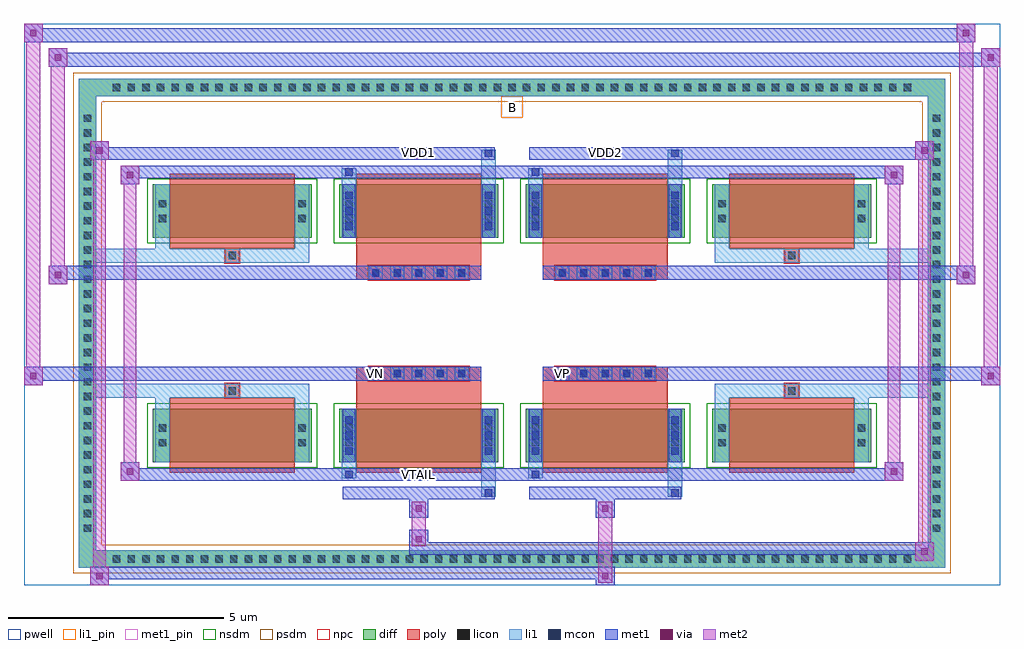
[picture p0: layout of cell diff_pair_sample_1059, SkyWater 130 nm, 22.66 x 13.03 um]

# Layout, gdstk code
import gdstk
lib = gdstk.Library(unit=1e-6, precision=5e-09)
def R(c, l, rs):  # rectangles x0, y0, x1, y1
    for r in rs: c.add(gdstk.rectangle(r[:2], r[2:], *l))
def A(c, l, x, y, w, h, nx, ny, dx, dy):  # array of equal rectangles
    R(c, l, [(x+i*dx, y+j*dy, x+i*dx+w, y+j*dy+h) for i in range(nx) for j in range(ny)])
def P(c, l, *ps):  # polygons
    for p in ps: c.add(gdstk.Polygon(p, *l))
pwell = (64, 44)
diff = (65, 20)
poly = (66, 20)
licon = (66, 44)
li1_pin = (67, 16)
li1 = (67, 20)
mcon = (67, 44)
met1_pin = (68, 16)
met1 = (68, 20)
via = (68, 44)
met2 = (69, 20)
nsdm = (93, 44)
psdm = (94, 20)
npc = (95, 20)

diff_pair_sample_1059 = lib.new_cell('diff_pair_sample_1059')
R(diff_pair_sample_1059, pwell, [(-11.33,-6.08,11.33,6.95), (-8.65,-4.27,-0.01,-0.805), (0.01,-4.27,8.65,-0.805), (-8.65,0.805,-0.01,4.27), (0.01,0.805,8.65,4.27)])
A(diff_pair_sample_1059, diff, -9.385, -5.68, 0.41, 0.41, 55, 2, 0.34, 10.95)
A(diff_pair_sample_1059, diff, -10.06, -4.965, 0.41, 0.41, 1, 29, 0, 0.34)
A(diff_pair_sample_1059, diff, 9.65, -4.965, 0.41, 0.41, 1, 29, 0, 0.34)
A(diff_pair_sample_1059, diff, -8.34, -3.225, 3.69, 1.24, 4, 2, 4.33, 5.21)
R(diff_pair_sample_1059, diff, [(-9.385,-5.68,9.385,-5.27), (-10.06,-4.965,-9.65,4.965), (9.65,-4.965,10.06,4.965), (-9.385,5.27,9.385,5.68)])
P(diff_pair_sample_1059, diff, [(10.06,5.68),(-10.06,5.68),(-10.06,-5.27),(-9.65,-5.27),(-9.65,5.27),(9.65,5.27),(9.65,-5.27),(-9.65,-5.27),(-10.06,-5.27),(-10.06,-5.68),(10.06,-5.68)])
A(diff_pair_sample_1059, poly, -7.95, -3.475, 2.91, 1.74, 4, 2, 4.33, 5.21)
A(diff_pair_sample_1059, poly, -3.33, -1.335, 0.33, 0.33, 5, 2, 0.5, 2.34)
A(diff_pair_sample_1059, poly, 1, -1.335, 0.33, 0.33, 5, 2, 0.5, 2.34)
R(diff_pair_sample_1059, poly, [(-6.66,-1.735,-6.33,-1.405), (-6.66,-1.735,-6.33,-1.405), (-3.62,-1.735,-0.71,-1.335), (0.71,-1.735,3.62,-1.335), (6.33,-1.735,6.66,-1.405), (6.33,-1.735,6.66,-1.405), (-3.62,-1.335,-0.71,-1.005), (0.71,-1.335,3.62,-1.005), (-3.62,1.005,-0.71,1.335), (0.71,1.005,3.62,1.335), (-3.62,1.335,-0.71,1.735), (0.71,1.335,3.62,1.735), (-6.66,1.405,-6.33,1.735), (-6.66,1.405,-6.33,1.735), (6.33,1.405,6.66,1.735), (6.33,1.405,6.66,1.735)])
A(diff_pair_sample_1059, licon, -9.265, -5.56, 0.17, 0.17, 55, 2, 0.34, 10.95)
A(diff_pair_sample_1059, licon, -9.94, -4.845, 0.17, 0.17, 1, 29, 0, 0.34)
A(diff_pair_sample_1059, licon, 9.77, -4.845, 0.17, 0.17, 1, 29, 0, 0.34)
A(diff_pair_sample_1059, licon, -3.25, -1.255, 0.17, 0.17, 5, 2, 0.5, 2.34)
A(diff_pair_sample_1059, licon, 1.08, -1.255, 0.17, 0.17, 5, 2, 0.5, 2.34)
R(diff_pair_sample_1059, licon, [(-8.2,-2.86,-8.03,-2.69), (-4.96,-2.86,-4.79,-2.69), (-3.87,-2.86,-3.7,-2.69), (-0.63,-2.86,-0.46,-2.69), (0.46,-2.86,0.63,-2.69), (3.7,-2.86,3.87,-2.69), (4.79,-2.86,4.96,-2.69), (8.03,-2.86,8.2,-2.69), (-8.2,-2.52,-8.03,-2.35), (-4.96,-2.52,-4.79,-2.35), (-3.87,-2.52,-3.7,-2.35), (-0.63,-2.52,-0.46,-2.35), (0.46,-2.52,0.63,-2.35), (3.7,-2.52,3.87,-2.35), (4.79,-2.52,4.96,-2.35), (8.03,-2.52,8.2,-2.35), (-6.58,-1.655,-6.41,-1.485), (6.41,-1.655,6.58,-1.485), (-6.58,1.485,-6.41,1.655), (6.41,1.485,6.58,1.655), (-8.2,2.35,-8.03,2.52), (-4.96,2.35,-4.79,2.52), (-3.87,2.35,-3.7,2.52), (-0.63,2.35,-0.46,2.52), (0.46,2.35,0.63,2.52), (3.7,2.35,3.87,2.52), (4.79,2.35,4.96,2.52), (8.03,2.35,8.2,2.52), (-8.2,2.69,-8.03,2.86), (-4.96,2.69,-4.79,2.86), (-3.87,2.69,-3.7,2.86), (-0.63,2.69,-0.46,2.86), (0.46,2.69,0.63,2.86), (3.7,2.69,3.87,2.86), (4.79,2.69,4.96,2.86), (8.03,2.69,8.2,2.86)])
R(diff_pair_sample_1059, li1_pin, [(-0.25,4.77,0.25,5.27)])
A(diff_pair_sample_1059, li1, -9.345, -5.64, 0.33, 0.33, 55, 2, 0.34, 10.95)
A(diff_pair_sample_1059, li1, -10.02, -4.925, 0.33, 0.33, 1, 29, 0, 0.34)
A(diff_pair_sample_1059, li1, 9.69, -4.925, 0.33, 0.33, 1, 29, 0, 0.34)
A(diff_pair_sample_1059, li1, -3.87, -3.05, 0.17, 0.17, 1, 3, 0, 0.36)
A(diff_pair_sample_1059, li1, -0.63, -3.05, 0.17, 0.17, 1, 3, 0, 0.36)
A(diff_pair_sample_1059, li1, 0.46, -3.05, 0.17, 0.17, 1, 3, 0, 0.36)
A(diff_pair_sample_1059, li1, 3.7, -3.05, 0.17, 0.17, 1, 3, 0, 0.36)
A(diff_pair_sample_1059, li1, -3.33, -1.335, 0.33, 0.33, 5, 2, 0.5, 2.34)
A(diff_pair_sample_1059, li1, 1, -1.335, 0.33, 0.33, 5, 2, 0.5, 2.34)
A(diff_pair_sample_1059, li1, -3.87, 2.16, 0.17, 0.17, 1, 3, 0, 0.36)
A(diff_pair_sample_1059, li1, -0.63, 2.16, 0.17, 0.17, 1, 3, 0, 0.36)
A(diff_pair_sample_1059, li1, 0.46, 2.16, 0.17, 0.17, 1, 3, 0, 0.36)
A(diff_pair_sample_1059, li1, 3.7, 2.16, 0.17, 0.17, 1, 3, 0, 0.36)
R(diff_pair_sample_1059, li1, [(-10.06,-5.68,-9.65,-5.27), (-10.06,-5.68,-9.65,-5.27), (-9.65,-5.68,9.65,-5.27), (9.65,-5.68,10.06,-5.27), (9.65,-5.68,10.06,-5.27), (-10.06,-5.27,-9.65,5.27), (9.65,-5.27,10.06,5.27), (-0.71,-4.03,-0.38,-3.225), (-0.63,-4.03,-0.46,-3.86), (3.62,-4.03,3.95,-3.225), (3.7,-4.03,3.87,-3.86), (-3.95,-3.6,-3.62,-3.225), (-3.87,-3.6,-3.7,-3.43), (0.38,-3.6,0.71,-3.225), (0.46,-3.6,0.63,-3.43), (-8.28,-3.225,-7.95,-1.985), (-5.04,-3.225,-4.71,-1.985), (-3.95,-3.225,-3.62,-1.985), (-0.71,-3.225,-0.38,-1.985), (0.38,-3.225,0.71,-1.985), (3.62,-3.225,3.95,-1.985), (4.71,-3.225,5.04,-1.985), (7.95,-3.225,8.28,-1.985), (-3.87,-3.05,-3.7,-2.16), (-0.63,-3.05,-0.46,-2.16), (0.46,-3.05,0.63,-2.16), (3.7,-3.05,3.87,-2.16), (-8.28,-2.94,-7.95,-2.61), (-5.04,-2.94,-4.71,-2.61), (-3.95,-2.94,-3.62,-2.61), (-0.71,-2.94,-0.38,-2.61), (0.38,-2.94,0.71,-2.61), (3.62,-2.94,3.95,-2.61), (4.71,-2.94,5.04,-2.61), (7.95,-2.94,8.28,-2.61), (-8.28,-2.6,-7.95,-2.27), (-5.04,-2.6,-4.71,-2.27), (-3.95,-2.6,-3.62,-2.27), (-0.71,-2.6,-0.38,-2.27), (0.38,-2.6,0.71,-2.27), (3.62,-2.6,3.95,-2.27), (4.71,-2.6,5.04,-2.27), (7.95,-2.6,8.28,-2.27), (-8.28,-1.985,-7.95,-1.405), (-5.04,-1.985,-4.71,-1.405), (4.71,-1.985,5.04,-1.405), (7.95,-1.985,8.28,-1.405), (-10.06,-1.735,-6.66,-1.405), (-8.28,-1.735,-6.66,-1.405), (-6.66,-1.735,-6.33,-1.405), (-6.33,-1.735,-4.71,-1.405), (4.71,-1.735,6.33,-1.405), (6.33,-1.735,6.66,-1.405), (6.33,-1.735,10.06,-1.405), (6.66,-1.735,8.28,-1.405), (-10.06,1.405,-6.66,1.735), (-8.28,1.405,-6.66,1.735), (-8.28,1.405,-7.95,1.985), (-6.66,1.405,-6.33,1.735), (-6.33,1.405,-4.71,1.735), (-5.04,1.405,-4.71,1.985), (4.71,1.405,6.33,1.735), (4.71,1.405,5.04,1.985), (6.33,1.405,6.66,1.735), (6.33,1.405,10.06,1.735), (6.66,1.405,8.28,1.735), (7.95,1.405,8.28,1.985), (-8.28,1.985,-7.95,3.225), (-5.04,1.985,-4.71,3.225), (-3.95,1.985,-3.62,3.225), (-0.71,1.985,-0.38,3.225), (0.38,1.985,0.71,3.225), (3.62,1.985,3.95,3.225), (4.71,1.985,5.04,3.225), (7.95,1.985,8.28,3.225), (-3.87,2.16,-3.7,3.05), (-0.63,2.16,-0.46,3.05), (0.46,2.16,0.63,3.05), (3.7,2.16,3.87,3.05), (-8.28,2.27,-7.95,2.6), (-5.04,2.27,-4.71,2.6), (-3.95,2.27,-3.62,2.6), (-0.71,2.27,-0.38,2.6), (0.38,2.27,0.71,2.6), (3.62,2.27,3.95,2.6), (4.71,2.27,5.04,2.6), (7.95,2.27,8.28,2.6), (-8.28,2.61,-7.95,2.94), (-5.04,2.61,-4.71,2.94), (-3.95,2.61,-3.62,2.94), (-0.71,2.61,-0.38,2.94), (0.38,2.61,0.71,2.94), (3.62,2.61,3.95,2.94), (4.71,2.61,5.04,2.94), (7.95,2.61,8.28,2.94), (-3.95,3.225,-3.62,3.6), (-0.71,3.225,-0.38,4.03), (0.38,3.225,0.71,3.6), (3.62,3.225,3.95,4.03), (-3.87,3.43,-3.7,3.6), (0.46,3.43,0.63,3.6), (-0.63,3.86,-0.46,4.03), (3.7,3.86,3.87,4.03), (-10.06,5.27,-9.65,5.68), (-10.06,5.27,-9.65,5.68), (-9.65,5.27,9.65,5.68), (9.65,5.27,10.06,5.68), (9.65,5.27,10.06,5.68)])
A(diff_pair_sample_1059, mcon, -3.87, -3.05, 0.17, 0.17, 1, 3, 0, 0.36)
A(diff_pair_sample_1059, mcon, -0.63, -3.05, 0.17, 0.17, 1, 3, 0, 0.36)
A(diff_pair_sample_1059, mcon, 0.46, -3.05, 0.17, 0.17, 1, 3, 0, 0.36)
A(diff_pair_sample_1059, mcon, 3.7, -3.05, 0.17, 0.17, 1, 3, 0, 0.36)
A(diff_pair_sample_1059, mcon, -3.25, -1.255, 0.17, 0.17, 5, 2, 0.5, 2.34)
A(diff_pair_sample_1059, mcon, 1.08, -1.255, 0.17, 0.17, 5, 2, 0.5, 2.34)
A(diff_pair_sample_1059, mcon, -3.87, 2.16, 0.17, 0.17, 1, 3, 0, 0.36)
A(diff_pair_sample_1059, mcon, -0.63, 2.16, 0.17, 0.17, 1, 3, 0, 0.36)
A(diff_pair_sample_1059, mcon, 0.46, 2.16, 0.17, 0.17, 1, 3, 0, 0.36)
A(diff_pair_sample_1059, mcon, 3.7, 2.16, 0.17, 0.17, 1, 3, 0, 0.36)
R(diff_pair_sample_1059, mcon, [(-0.63,-4.03,-0.46,-3.86), (3.7,-4.03,3.87,-3.86), (-3.87,-3.6,-3.7,-3.43), (0.46,-3.6,0.63,-3.43), (-3.87,3.43,-3.7,3.6), (0.46,3.43,0.63,3.6), (-0.63,3.86,-0.46,4.03), (3.7,3.86,3.87,4.03)])
R(diff_pair_sample_1059, met1_pin, [(-2.3,-3.64,-2.03,-3.37), (-3.3,-1.295,-3.03,-1.025), (1.03,-1.295,1.3,-1.025), (-2.3,3.82,-2.03,4.09), (2.03,3.82,2.3,4.09)])
A(diff_pair_sample_1059, met1, -3.93, -3.11, 0.29, 0.29, 1, 3, 0, 0.36)
A(diff_pair_sample_1059, met1, -0.69, -3.11, 0.29, 0.29, 1, 3, 0, 0.36)
A(diff_pair_sample_1059, met1, 0.4, -3.11, 0.29, 0.29, 1, 3, 0, 0.36)
A(diff_pair_sample_1059, met1, 3.64, -3.11, 0.29, 0.29, 1, 3, 0, 0.36)
A(diff_pair_sample_1059, met1, -3.31, -1.315, 0.29, 0.29, 5, 2, 0.5, 2.34)
A(diff_pair_sample_1059, met1, 1.02, -1.315, 0.29, 0.29, 5, 2, 0.5, 2.34)
A(diff_pair_sample_1059, met1, -3.93, 2.1, 0.29, 0.29, 1, 3, 0, 0.36)
A(diff_pair_sample_1059, met1, -0.69, 2.1, 0.29, 0.29, 1, 3, 0, 0.36)
A(diff_pair_sample_1059, met1, 0.4, 2.1, 0.29, 0.29, 1, 3, 0, 0.36)
A(diff_pair_sample_1059, met1, 3.64, 2.1, 0.29, 0.29, 1, 3, 0, 0.36)
R(diff_pair_sample_1059, met1, [(-9.79,-6.08,-9.36,-5.65), (1.95,-6.08,2.38,-5.65), (-9.79,-5.94,2.38,-5.65), (9.36,-5.51,9.79,-5.08), (-2.38,-5.37,9.79,-5.08), (-2.38,-5.23,-1.95,-4.8), (-2.38,-4.52,-1.95,-4.09), (1.95,-4.52,2.38,-4.09), (-3.93,-4.09,-0.4,-3.8), (-0.69,-4.09,-0.4,-3.8), (0.4,-4.09,3.93,-3.8), (3.64,-4.09,3.93,-3.8), (-9.08,-3.66,-8.65,-3.23), (-9.08,-3.66,-3.93,-3.37), (-3.93,-3.66,-3.64,-3.37), (-3.93,-3.66,-0.4,-3.37), (-0.4,-3.66,0.4,-3.37), (0.4,-3.66,0.69,-3.37), (0.4,-3.66,3.93,-3.37), (3.93,-3.66,9.08,-3.37), (8.65,-3.66,9.08,-3.23), (-3.93,-3.225,-3.64,-1.985), (-0.69,-3.225,-0.4,-1.985), (0.4,-3.225,0.69,-1.985), (3.64,-3.225,3.93,-1.985), (-11.33,-1.435,-10.9,-1.005), (10.9,-1.435,11.33,-1.005), (-11.33,-1.335,-0.71,-1.005), (-3.62,-1.335,-0.71,-1.005), (0.71,-1.335,3.62,-1.005), (0.71,-1.335,11.33,-1.005), (-10.76,0.905,-10.33,1.335), (10.33,0.905,10.76,1.335), (-10.76,1.005,-3.62,1.335), (-3.62,1.005,-0.71,1.335), (0.71,1.005,3.62,1.335), (3.62,1.005,10.76,1.335), (-3.93,1.985,-3.64,3.225), (-0.69,1.985,-0.4,3.225), (0.4,1.985,0.69,3.225), (3.64,1.985,3.93,3.225), (-9.08,3.23,-8.65,3.66), (8.65,3.23,9.08,3.66), (-9.08,3.37,-3.93,3.66), (-3.93,3.37,-3.64,3.66), (-3.93,3.37,-0.4,3.66), (-0.4,3.37,0.4,3.66), (0.4,3.37,0.69,3.66), (0.4,3.37,3.93,3.66), (3.93,3.37,9.08,3.66), (-9.79,3.8,-9.36,4.23), (-9.79,3.8,-3.93,4.09), (-3.93,3.8,-0.4,4.09), (-0.69,3.8,-0.4,4.09), (0.4,3.8,3.93,4.09), (3.64,3.8,3.93,4.09), (3.93,3.8,9.79,4.09), (9.36,3.8,9.79,4.23), (-10.76,5.95,-10.33,6.38), (-10.76,5.95,-8.65,6.28), (-8.65,5.95,8.65,6.28), (8.65,5.95,11.33,6.28), (10.9,5.95,11.33,6.38), (-11.33,6.52,-10.9,6.95), (-11.33,6.52,-8.65,6.85), (-8.65,6.52,8.65,6.85), (8.65,6.52,10.76,6.85), (10.33,6.52,10.76,6.95)])
R(diff_pair_sample_1059, via, [(-9.65,-5.94,-9.5,-5.79), (2.09,-5.94,2.24,-5.79), (9.5,-5.37,9.65,-5.22), (-2.24,-5.09,-2.09,-4.94), (-2.24,-4.38,-2.09,-4.23), (2.09,-4.38,2.24,-4.23), (-8.94,-3.52,-8.79,-3.37), (8.79,-3.52,8.94,-3.37), (-11.19,-1.295,-11.04,-1.145), (11.04,-1.295,11.19,-1.145), (-10.62,1.045,-10.47,1.195), (10.47,1.045,10.62,1.195), (-8.94,3.37,-8.79,3.52), (8.79,3.37,8.94,3.52), (-9.65,3.94,-9.5,4.09), (9.5,3.94,9.65,4.09), (-10.62,6.09,-10.47,6.24), (11.04,6.09,11.19,6.24), (-11.19,6.66,-11.04,6.81), (10.47,6.66,10.62,6.81)])
R(diff_pair_sample_1059, met2, [(-9.79,-6.08,-9.36,-5.65), (-9.72,-6.08,-9.43,4.23), (-9.43,-6.08,-9.36,-5.65), (-9.74,-6.03,-9.41,-5.7), (2,-6.03,2.33,-5.7), (2,-5.7,2.33,-4.47), (9.36,-5.51,9.79,-5.08), (9.43,-5.51,9.72,4.23), (9.72,-5.51,9.79,-5.08), (9.41,-5.46,9.74,-5.13), (-2.33,-5.18,-2,-4.85), (-2.33,-4.85,-2,-4.47), (-2.33,-4.47,-2,-4.14), (2,-4.47,2.33,-4.14), (-9.08,-3.66,-8.65,-3.23), (-9.01,-3.66,-8.72,3.66), (-8.72,-3.66,-8.65,-3.23), (8.65,-3.66,9.08,-3.23), (8.72,-3.66,9.01,3.66), (9.01,-3.66,9.08,-3.23), (-9.03,-3.61,-8.7,-3.28), (8.7,-3.61,9.03,-3.28), (-11.33,-1.435,-10.9,-1.005), (-11.28,-1.435,-10.95,6.95), (-10.95,-1.435,-10.9,-1.005), (10.9,-1.435,11.33,-1.005), (10.95,-1.435,11.28,6.38), (11.28,-1.435,11.33,-1.005), (-11.28,-1.385,-10.95,-1.055), (10.95,-1.385,11.28,-1.055), (-10.76,0.905,-10.33,1.335), (-10.71,0.905,-10.38,6.38), (-10.38,0.905,-10.33,1.335), (10.33,0.905,10.76,1.335), (10.38,0.905,10.71,6.95), (10.71,0.905,10.76,1.335), (-10.71,0.955,-10.38,1.285), (10.38,0.955,10.71,1.285), (-9.08,3.23,-8.65,3.66), (-8.72,3.23,-8.65,3.66), (8.65,3.23,9.08,3.66), (9.01,3.23,9.08,3.66), (-9.03,3.28,-8.7,3.61), (8.7,3.28,9.03,3.61), (-9.79,3.8,-9.36,4.23), (-9.43,3.8,-9.36,4.23), (9.36,3.8,9.79,4.23), (9.72,3.8,9.79,4.23), (-9.74,3.85,-9.41,4.18), (9.41,3.85,9.74,4.18), (-10.76,5.95,-10.33,6.38), (-10.38,5.95,-10.33,6.38), (10.9,5.95,11.33,6.38), (11.28,5.95,11.33,6.38), (-10.71,6,-10.38,6.33), (10.95,6,11.28,6.33), (-11.33,6.52,-10.9,6.95), (-10.95,6.52,-10.9,6.95), (10.33,6.52,10.76,6.95), (10.71,6.52,10.76,6.95), (-11.28,6.57,-10.95,6.9), (10.38,6.57,10.71,6.9)])
A(diff_pair_sample_1059, nsdm, -8.47, -3.355, 3.95, 1.5, 4, 2, 4.33, 5.21)
P(diff_pair_sample_1059, psdm, [(10.19,5.81),(-10.19,5.81),(-10.19,-5.14),(-9.52,-5.14),(-9.52,5.14),(9.52,5.14),(9.52,-5.14),(-9.52,-5.14),(-10.19,-5.14),(-10.19,-5.81),(10.19,-5.81)])
A(diff_pair_sample_1059, npc, -3.35, -1.355, 0.37, 0.37, 5, 2, 0.5, 2.34)
A(diff_pair_sample_1059, npc, 0.98, -1.355, 0.37, 0.37, 5, 2, 0.5, 2.34)
R(diff_pair_sample_1059, npc, [(-6.68,-1.755,-6.31,-1.385), (6.31,-1.755,6.68,-1.385), (-3.35,-1.355,-2.48,-0.985), (-3.35,-1.355,-2.48,-0.985), (-2.85,-1.355,-1.98,-0.985), (-2.85,-1.355,-1.98,-0.985), (-2.35,-1.355,-1.48,-0.985), (-2.35,-1.355,-1.48,-0.985), (-1.85,-1.355,-0.98,-0.985), (-1.85,-1.355,-0.98,-0.985), (0.98,-1.355,1.85,-0.985), (0.98,-1.355,1.85,-0.985), (1.48,-1.355,2.35,-0.985), (1.48,-1.355,2.35,-0.985), (1.98,-1.355,2.85,-0.985), (1.98,-1.355,2.85,-0.985), (2.48,-1.355,3.35,-0.985), (2.48,-1.355,3.35,-0.985), (-3.35,0.985,-2.48,1.355), (-3.35,0.985,-2.48,1.355), (-2.85,0.985,-1.98,1.355), (-2.85,0.985,-1.98,1.355), (-2.35,0.985,-1.48,1.355), (-2.35,0.985,-1.48,1.355), (-1.85,0.985,-0.98,1.355), (-1.85,0.985,-0.98,1.355), (0.98,0.985,1.85,1.355), (0.98,0.985,1.85,1.355), (1.48,0.985,2.35,1.355), (1.48,0.985,2.35,1.355), (1.98,0.985,2.85,1.355), (1.98,0.985,2.85,1.355), (2.48,0.985,3.35,1.355), (2.48,0.985,3.35,1.355), (-6.68,1.385,-6.31,1.755), (6.31,1.385,6.68,1.755)])
diff_pair_sample_1059.add(gdstk.Label('VTAIL', (-2.165,-3.505), layer=68, texttype=5))
diff_pair_sample_1059.add(gdstk.Label('VN', (-3.165,-1.16), layer=68, texttype=5))
diff_pair_sample_1059.add(gdstk.Label('VP', (1.165,-1.16), layer=68, texttype=5))
diff_pair_sample_1059.add(gdstk.Label('B', (0,5.02), layer=67, texttype=5))
diff_pair_sample_1059.add(gdstk.Label('VDD2', (2.165,3.955), layer=68, texttype=5))
diff_pair_sample_1059.add(gdstk.Label('VDD1', (-2.165,3.955), layer=68, texttype=5))

lib.write_gds('diff_pair_sample_1059.gds')
